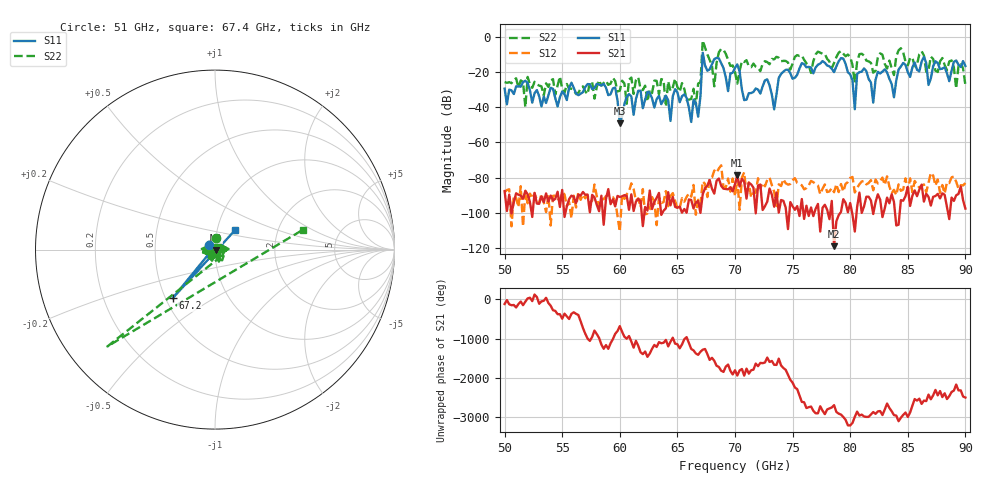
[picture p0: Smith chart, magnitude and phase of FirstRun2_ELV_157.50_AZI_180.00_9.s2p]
! 11/24/2026 3:24:47 PM
! C:\ANRITSUVNA\TEMP\TEMP.S2P
! CHANNEL.1
! TR.MEASUREMENT
! RAW.DATA
# HZ S RI R 50.0
! FREQ.HZ  S11RE  S11IM  S21RE  S21IM  S12RE  S12IM  S22RE  S22IM
!; PortSelection: Port_12
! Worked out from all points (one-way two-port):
!   201 points, 50 GHz to 90 GHz, reference 50 ohm
!   highest |S21| = -78.72 dB at 70.2 GHz (marker M1); lowest = -119.1 dB at 78.6 GHz (marker M2)
!   lowest |S11| = -49.0 dB at 60 GHz (marker M3), VSWR 1.01, Z = 50.3 - j0.154 ohm
!   |S11| at or under -10 dB: start of sweep to 67.19 GHz; 67.23 GHz to end of sweep
!   |S22| runs from -39.9 to -1.9 dB; largest |S21 - S12| = 0.00024
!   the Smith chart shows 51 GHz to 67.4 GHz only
!   S11 on the Smith chart (normalised r, x): 51 GHz: 0.94, +0.05; 67.2 GHz: 0.54, -0.34; 67.4 GHz: 1.22, +0.27
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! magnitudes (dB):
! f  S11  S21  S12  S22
! 50 GHz  -29.3  -87.7  -88.3  -25.6
! 51 GHz  -28.0  -89.0  -91.7  -23.4
! 56.8 GHz  -31.4  -88.2  -89.7  -28.1
! 59.6 GHz  -28.8  -96.5  -93.4  -25.0
! 60 GHz  -49.0  -91.0  -110.9  -30.5
! 63.4 GHz  -33.4  -88.8  -91.4  -32.6
! 66.8 GHz  -45.3  -93.3  -92.7  -26.5
! 67.2 GHz  -8.9  -89.5  -82.3  -1.9
! 67.4 GHz  -16.1  -86.1  -83.6  -5.9
! 68.2 GHz  -12.5  -89.2  -76.0  -28.0
! 68.8 GHz  -14.8  -84.8  -73.0  -6.7
! 70 GHz  -17.5  -83.8  -90.7  -19.9
! 70.2 GHz  -15.5  -78.7  -80.8  -26.5
! 73.4 GHz  -41.1  -96.6  -88.0  -12.6
! 74.2 GHz  -19.7  -93.3  -80.9  -13.5
! 76.8 GHz  -20.6  -102.0  -82.7  -13.6
! 78.6 GHz  -19.9  -119.1  -88.4  -14.8
! 79.4 GHz  -12.2  -92.3  -88.0  -9.4
! 80.4 GHz  -41.1  -110.8  -88.5  -26.3
! 80.6 GHz  -21.0  -96.9  -85.9  -14.0
! 83.4 GHz  -23.7  -94.7  -85.1  -13.3
! 90 GHz  -16.4  -97.7  -83.2  -27.3
